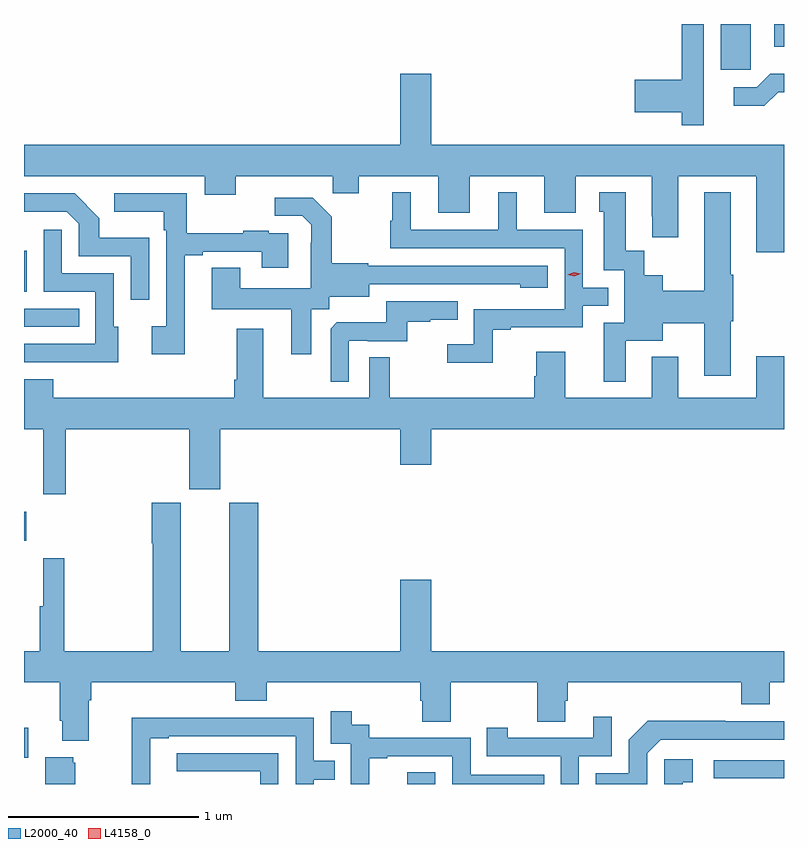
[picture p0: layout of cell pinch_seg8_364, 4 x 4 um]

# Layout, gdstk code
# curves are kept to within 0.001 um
import gdstk
lib = gdstk.Library(unit=1e-6, precision=1e-09)
def R(c, l, rs):  # rectangles x0, y0, x1, y1
    for r in rs: c.add(gdstk.rectangle(r[:2], r[2:], *l))
def P(c, l, *ps):  # polygons
    for p in ps: c.add(gdstk.Polygon(p, *l))
L2000_40 = (2000, 40)
L4158_0 = (4158, 0)

pinch_seg8_364 = lib.new_cell('pinch_seg8_364')
R(pinch_seg8_364, L2000_40, [(404.805,1102.644,404.952,1102.705), (406.419,1102.674,406.788,1102.77), (402.788,1102.783,402.811,1102.939), (402.788,1103.924,402.799,1104.076), (402.788,1105.05,403.079,1105.146), (402.788,1105.235,402.802,1105.45), (406.454,1106.403,406.612,1106.644), (406.736,1106.523,406.788,1106.644)])
P(pinch_seg8_364, L2000_40, [(406.366,1106.334),(406.365,1106.334),(406.365,1106.644),(406.249,1106.644),(406.249,1106.351),(406.002,1106.351),(406.002,1106.18),(406.249,1106.18),(406.249,1106.112),(406.366,1106.112)],
  [(406.788,1106.008),(404.932,1106.008),(404.932,1106.383),(404.768,1106.383),(404.768,1106.008),(402.788,1106.008),(402.788,1105.844),(403.739,1105.844),(403.739,1105.745),(403.903,1105.745),(403.903,1105.844),(404.413,1105.844),(404.413,1105.754),(404.551,1105.754),(404.551,1105.844),(404.969,1105.844),(404.969,1105.65),(405.133,1105.65),(405.133,1105.844),(405.527,1105.844),(405.527,1105.65),(405.691,1105.65),(405.691,1105.844),(406.091,1105.844),(406.091,1105.633),(406.094,1105.633),(406.094,1105.521),(406.231,1105.521),(406.231,1105.844),(406.643,1105.844),(406.643,1105.443),(406.788,1105.443)],
  [(406.758,1106.286),(406.788,1106.286),(406.788,1106.381),(406.715,1106.381),(406.644,1106.31),(406.524,1106.31),(406.524,1106.213),(406.685,1106.213)],
  [(405.955,1104.977),(406.15,1104.977),(406.15,1105.069),(406.367,1105.069),(406.367,1104.792),(406.507,1104.792),(406.507,1105.08),(406.52,1105.08),(406.52,1105.324),(406.507,1105.324),(406.507,1105.759),(406.367,1105.759),(406.367,1105.241),(406.15,1105.241),(406.15,1105.321),(406.053,1105.321),(406.053,1105.451),(405.955,1105.451),(405.955,1105.759),(405.815,1105.759),(405.815,1105.656),(405.839,1105.656),(405.839,1105.347),(405.948,1105.347),(405.948,1105.071),(405.839,1105.071),(405.839,1104.762),(405.955,1104.762)],
  [(405.255,1105.035),(405.349,1105.035),(405.349,1105.047),(405.729,1105.047),(405.729,1105.161),(405.862,1105.161),(405.862,1105.257),(405.729,1105.257),(405.729,1105.56),(405.382,1105.56),(405.382,1105.759),(405.284,1105.759),(405.284,1105.56),(404.824,1105.56),(404.824,1105.759),(404.726,1105.759),(404.726,1105.608),(404.715,1105.608),(404.715,1105.464),(405.633,1105.464),(405.633,1105.143),(405.156,1105.143),(405.156,1104.958),(405.015,1104.958),(405.015,1104.86),(405.255,1104.86)],
  [(403.633,1105.428),(403.729,1105.428),(403.729,1105.446),(404.039,1105.446),(404.039,1105.362),(404.179,1105.362),(404.179,1105.542),(404.075,1105.542),(404.075,1105.555),(403.943,1105.555),(403.943,1105.544),(403.645,1105.544),(403.645,1105.752),(403.263,1105.752),(403.263,1105.655),(403.524,1105.655),(403.524,1105.559),(403.536,1105.559),(403.536,1105.054),(403.461,1105.054),(403.461,1104.906),(403.633,1104.906)],
  [(403.446,1105.519),(403.185,1105.519),(403.185,1105.622),(403.054,1105.752),(402.788,1105.752),(402.788,1105.655),(403.014,1105.656),(403.077,1105.593),(403.077,1105.422),(403.35,1105.422),(403.35,1105.194),(403.446,1105.194)],
  [(404.299,1105.144),(404.394,1105.144),(404.394,1105.208),(404.605,1105.208),(404.605,1105.275),(405.399,1105.274),(405.399,1105.256),(405.544,1105.256),(405.544,1105.371),(404.601,1105.371),(404.601,1105.384),(404.409,1105.384),(404.409,1105.629),(404.309,1105.729),(404.109,1105.729),(404.109,1105.635),(404.253,1105.635),(404.3,1105.588),(404.3,1105.493),(404.298,1105.493),(404.298,1105.252),(403.927,1105.252),(403.927,1105.361),(403.775,1105.361),(403.775,1105.142),(404.195,1105.142),(404.195,1104.906),(404.299,1104.906)],
  [(403.285,1105.05),(403.26,1105.05),(403.26,1105.332),(402.987,1105.332),(402.987,1105.561),(402.891,1105.561),(402.891,1105.236),(403.164,1105.236),(403.164,1104.96),(402.788,1104.96),(402.788,1104.864),(403.067,1104.864),(403.067,1104.863),(403.285,1104.863)],
  [(404.496,1104.978),(404.596,1104.978),(404.596,1104.975),(404.804,1104.975),(404.804,1105.077),(404.927,1105.077),(404.927,1105.088),(405.071,1105.088),(405.071,1105.185),(404.694,1105.185),(404.694,1105.073),(404.435,1105.073),(404.403,1105.041),(404.403,1104.761),(404.496,1104.761)],
  [(403.007,1104.512),(403.658,1104.512),(403.658,1104.195),(403.822,1104.195),(403.822,1104.512),(404.768,1104.512),(404.768,1104.324),(404.932,1104.324),(404.932,1104.512),(406.788,1104.512),(406.788,1104.895),(406.643,1104.895),(406.643,1104.676),(406.231,1104.676),(406.231,1104.892),(406.091,1104.892),(406.091,1104.676),(405.637,1104.676),(405.637,1104.919),(405.485,1104.919),(405.485,1104.789),(405.473,1104.789),(405.473,1104.676),(404.713,1104.676),(404.713,1104.89),(404.604,1104.89),(404.604,1104.676),(404.047,1104.676),(404.047,1105.039),(403.907,1105.039),(403.907,1104.772),(403.895,1104.772),(403.895,1104.676),(402.943,1104.676),(402.943,1104.775),(402.788,1104.775),(402.788,1104.512),(402.89,1104.512),(402.89,1104.168),(403.007,1104.168)],
  [(403,1103.833),(402.89,1103.833),(402.89,1103.58),(402.871,1103.58),(402.871,1103.344),(402.788,1103.344),(402.788,1103.18),(402.977,1103.18),(402.977,1102.978),(402.989,1102.978),(402.989,1102.871),(403.129,1102.871),(403.129,1103.084),(403.142,1103.084),(403.142,1103.18),(403.901,1103.18),(403.901,1103.081),(404.066,1103.081),(404.066,1103.18),(404.873,1103.18),(404.873,1103.082),(404.885,1103.082),(404.885,1102.972),(405.033,1102.972),(405.033,1103.18),(405.49,1103.18),(405.49,1102.972),(405.637,1102.972),(405.637,1103.082),(405.65,1103.082),(405.65,1103.18),(406.562,1103.18),(406.562,1103.063),(406.714,1103.063),(406.714,1103.18),(406.788,1103.18),(406.788,1103.344),(404.932,1103.344),(404.932,1103.719),(404.768,1103.719),(404.768,1103.344),(404.021,1103.344),(404.021,1104.123),(403.868,1104.123),(403.868,1103.344),(403.612,1103.344),(403.612,1104.123),(403.46,1104.123),(403.46,1103.911),(403.465,1103.911),(403.465,1103.344),(403,1103.344)],
  [(404.606,1102.779),(404.701,1102.779),(404.701,1102.791),(405.042,1102.791),(405.042,1102.644),(405.527,1102.644),(405.527,1102.692),(405.138,1102.692),(405.138,1102.887),(404.604,1102.887),(404.604,1102.956),(404.512,1102.956),(404.512,1103.026),(404.403,1103.026),(404.403,1102.857),(404.508,1102.857),(404.508,1102.644),(404.606,1102.644)],
  [(405.708,1102.791),(405.882,1102.791),(405.882,1102.999),(405.785,1102.999),(405.785,1102.887),(405.334,1102.887),(405.334,1102.939),(405.223,1102.939),(405.223,1102.791),(405.612,1102.791),(405.612,1102.644),(405.708,1102.644)],
  [(403.452,1102.884),(403.549,1102.884),(403.549,1102.896),(404.217,1102.896),(404.217,1102.644),(404.313,1102.644),(404.313,1102.666),(404.423,1102.666),(404.423,1102.767),(404.313,1102.767),(404.313,1102.992),(403.817,1102.992),(403.817,1102.994),(403.354,1102.994),(403.354,1102.687),(403.356,1102.687),(403.356,1102.644),(403.452,1102.644)],
  [(406.068,1102.806),(406.14,1102.878),(406.788,1102.878),(406.788,1102.974),(406.478,1102.974),(406.478,1102.976),(406.07,1102.976),(405.972,1102.878),(405.972,1102.701),(405.798,1102.701),(405.798,1102.644),(406.068,1102.644)],
  [(404.127,1102.806),(403.593,1102.806),(403.593,1102.71),(404.031,1102.71),(404.031,1102.644),(404.127,1102.644)],
  [(403.057,1102.755),(403.046,1102.755),(403.046,1102.786),(402.899,1102.786),(402.899,1102.644),(403.057,1102.644)],
  [(406.256,1102.653),(406.309,1102.653),(406.309,1102.774),(406.158,1102.774),(406.158,1102.644),(406.256,1102.644)])
P(pinch_seg8_364, L4158_0, [(405.684,1105.317),(405.649,1105.324),(405.649,1105.324),(405.649,1105.324),(405.682,1105.337),(405.717,1105.33),(405.718,1105.329),(405.717,1105.329)])

lib.write_gds('pinch_seg8_364.gds')
